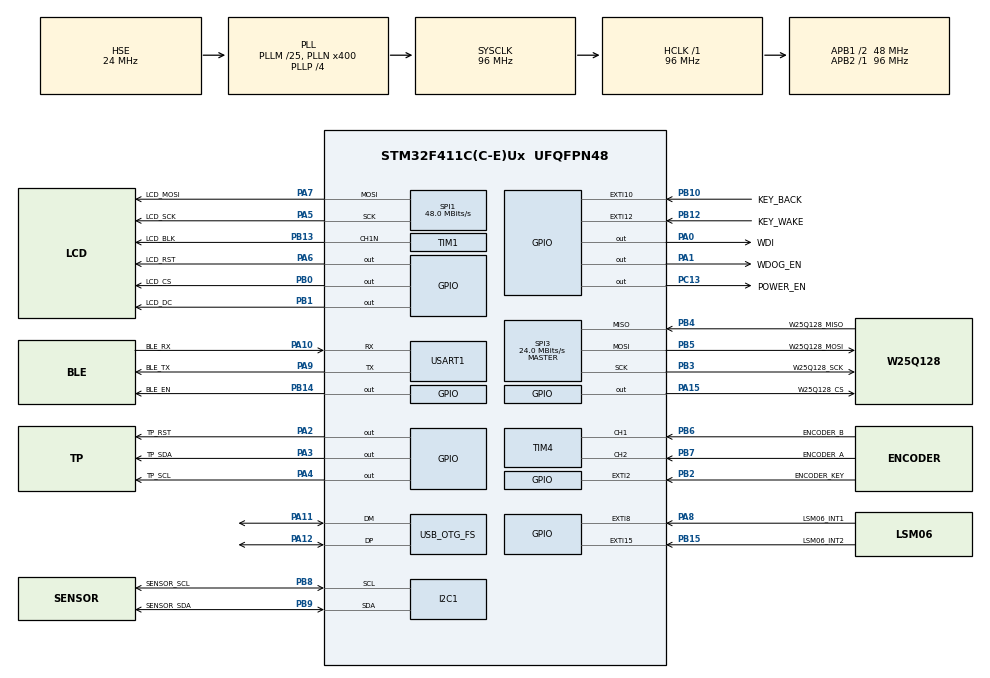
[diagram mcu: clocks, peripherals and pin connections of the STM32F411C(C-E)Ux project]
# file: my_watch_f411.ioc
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Dma.Request0=SPI1_TX
Dma.Request1=USART1_RX
Dma.SPI1_TX.0.Direction=DMA_MEMORY_TO_PERIPH
Dma.SPI1_TX.0.FIFOMode=DMA_FIFOMODE_DISABLE
Dma.SPI1_TX.0.Instance=DMA2_Stream2
Dma.SPI1_TX.0.MemDataAlignment=DMA_MDATAALIGN_BYTE
Dma.SPI1_TX.0.MemInc=DMA_MINC_ENABLE
Dma.SPI1_TX.0.Mode=DMA_NORMAL
Dma.SPI1_TX.0.PeriphDataAlignment=DMA_PDATAALIGN_BYTE
Dma.SPI1_TX.0.PeriphInc=DMA_PINC_DISABLE
Dma.SPI1_TX.0.Priority=DMA_PRIORITY_HIGH
Dma.USART1_RX.1.Direction=DMA_PERIPH_TO_MEMORY
Dma.USART1_RX.1.FIFOMode=DMA_FIFOMODE_DISABLE
Dma.USART1_RX.1.Instance=DMA2_Stream5
Dma.USART1_RX.1.MemDataAlignment=DMA_MDATAALIGN_BYTE
Dma.USART1_RX.1.MemInc=DMA_MINC_ENABLE
Dma.USART1_RX.1.Mode=DMA_NORMAL
Dma.USART1_RX.1.PeriphDataAlignment=DMA_PDATAALIGN_BYTE
Dma.USART1_RX.1.PeriphInc=DMA_PINC_DISABLE
Dma.USART1_RX.1.Priority=DMA_PRIORITY_LOW
FATFS._CODE_PAGE=936
FATFS._USE_FIND=1
FATFS._USE_LABEL=1
FATFS._USE_LFN=3
FREERTOS.Tasks01=defaultTask,24,1024,StartDefaultTask,Default,NULL,Dynamic,NULL,NULL;sensorTask,16,256,StartSensorTask,Default,NULL,Dynamic,NULL,NULL;keyTask,32,128,StartKeyTask,Default,NULL,Dynamic,NULL,NULL;watchdogTask,40,128,StartWatchdogTask,Default,NULL,Dynamic,NULL,NULL
FREERTOS.configCHECK_FOR_STACK_OVERFLOW=2
FREERTOS.configTOTAL_HEAP_SIZE=20480
FREERTOS.configUSE_IDLE_HOOK=1
Mcu.Family=STM32F4
Mcu.Name=STM32F411C(C-E)Ux
Mcu.Package=UFQFPN48
NVIC.DMA2_Stream2_IRQn=true\:6\:0\:true\:false\:true\:true\:false\:true\:true
NVIC.DMA2_Stream5_IRQn=true\:5\:0\:true\:false\:true\:true\:false\:true\:true
NVIC.EXTI15_10_IRQn=true\:5\:0\:true\:false\:true\:true\:true\:true\:true
NVIC.EXTI2_IRQn=true\:5\:0\:false\:false\:true\:true\:true\:true\:true
NVIC.EXTI9_5_IRQn=true\:5\:0\:true\:false\:true\:true\:true\:true\:true
NVIC.OTG_FS_IRQn=true\:5\:0\:false\:false\:true\:true\:false\:true\:true
NVIC.PriorityGroup=NVIC_PRIORITYGROUP_4
NVIC.SPI1_IRQn=true\:6\:0\:true\:false\:true\:true\:true\:true\:true
NVIC.TIM5_IRQn=true\:15\:0\:false\:false\:true\:false\:false\:true\:true
NVIC.TimeBase=TIM5_IRQn
NVIC.TimeBaseIP=TIM5
NVIC.USART1_IRQn=true\:5\:0\:true\:false\:true\:true\:true\:true\:true
PA0-WKUP.GPIO_Label=WDI
PA0-WKUP.Signal=GPIO_Output
PA1.GPIO_Label=WDOG_EN
PA1.GPIO_PuPd=GPIO_PULLUP
PA1.PinState=GPIO_PIN_SET
PA1.Signal=GPIO_Output
PA10.GPIO_Label=BLE_RX
PA10.Mode=Asynchronous
PA10.Signal=USART1_RX
PA11.Mode=Device_Only
PA11.Signal=USB_OTG_FS_DM
PA12.Mode=Device_Only
PA12.Signal=USB_OTG_FS_DP
PA13.Mode=Serial_Wire
PA13.Signal=SYS_JTMS-SWDIO
PA14.Mode=Serial_Wire
PA14.Signal=SYS_JTCK-SWCLK
PA15.GPIO_Label=W25Q128_CS
PA15.PinState=GPIO_PIN_SET
PA15.Signal=GPIO_Output
PA2.GPIO_Label=TP_RST
PA2.Signal=GPIO_Output
PA3.GPIO_Label=TP_SDA
PA3.GPIO_ModeDefaultOutputPP=GPIO_MODE_OUTPUT_OD
PA3.GPIO_PuPd=GPIO_PULLUP
PA3.GPIO_Speed=GPIO_SPEED_FREQ_HIGH
PA3.PinState=GPIO_PIN_SET
PA3.Signal=GPIO_Output
PA4.GPIO_Label=TP_SCL
PA4.GPIO_ModeDefaultOutputPP=GPIO_MODE_OUTPUT_OD
PA4.GPIO_PuPd=GPIO_PULLUP
PA4.GPIO_Speed=GPIO_SPEED_FREQ_HIGH
PA4.PinState=GPIO_PIN_SET
PA4.Signal=GPIO_Output
PA5.GPIO_Label=LCD_SCK
PA5.Mode=TX_Only_Simplex_Unidirect_Master
PA5.Signal=SPI1_SCK
PA6.GPIO_Label=LCD_RST
PA6.GPIO_Speed=GPIO_SPEED_FREQ_HIGH
PA6.PinState=GPIO_PIN_SET
PA6.Signal=GPIO_Output
PA7.GPIO_Label=LCD_MOSI
PA7.Mode=TX_Only_Simplex_Unidirect_Master
PA7.Signal=SPI1_MOSI
PA8.GPIO_Label=LSM06_INT1
PA8.GPIO_ModeDefaultEXTI=GPIO_MODE_IT_RISING
PA8.GPIO_PuPd=GPIO_PULLDOWN
PA8.Signal=GPXTI8
PA9.GPIO_Label=BLE_TX
PA9.Mode=Asynchronous
PA9.Signal=USART1_TX
PB0.GPIO_Label=LCD_CS
PB0.GPIO_Speed=GPIO_SPEED_FREQ_VERY_HIGH
PB0.PinState=GPIO_PIN_SET
PB0.Signal=GPIO_Output
PB1.GPIO_Label=LCD_DC
PB1.GPIO_Speed=GPIO_SPEED_FREQ_VERY_HIGH
PB1.Signal=GPIO_Output
PB10.GPIO_Label=KEY_BACK
PB10.GPIO_ModeDefaultEXTI=GPIO_MODE_IT_FALLING
PB10.Signal=GPXTI10
PB12.GPIO_Label=KEY_WAKE
PB12.Signal=GPXTI12
PB13.GPIO_Label=LCD_BLK
PB13.Mode=PWM Generation1 CH1N
PB13.Signal=TIM1_CH1N
PB14.GPIO_Label=BLE_EN
PB14.GPIO_ModeDefaultOutputPP=GPIO_MODE_OUTPUT_OD
PB14.GPIO_PuPd=GPIO_PULLUP
PB14.PinState=GPIO_PIN_SET
PB14.Signal=GPIO_Output
PB15.GPIO_Label=LSM06_INT2
PB15.GPIO_ModeDefaultEXTI=GPIO_MODE_IT_RISING
PB15.GPIO_PuPd=GPIO_PULLDOWN
PB15.Signal=GPXTI15
PB2.GPIO_Label=ENCODER_KEY
PB2.GPIO_ModeDefaultEXTI=GPIO_MODE_IT_FALLING
PB2.GPIO_PuPd=GPIO_PULLUP
PB2.Signal=GPXTI2
PB3.GPIO_Label=W25Q128_SCK
PB3.Mode=Full_Duplex_Master
PB3.Signal=SPI3_SCK
PB4.GPIO_Label=W25Q128_MISO
PB4.Mode=Full_Duplex_Master
PB4.Signal=SPI3_MISO
PB5.GPIO_Label=W25Q128_MOSI
PB5.Mode=Full_Duplex_Master
PB5.Signal=SPI3_MOSI
PB6.GPIO_Label=ENCODER_B
PB6.GPIO_PuPd=GPIO_PULLUP
PB6.Signal=S_TIM4_CH1
PB7.GPIO_Label=ENCODER_A
PB7.GPIO_PuPd=GPIO_PULLUP
PB7.Signal=S_TIM4_CH2
PB8.GPIO_Label=SENSOR_SCL
PB8.Mode=I2C
PB8.Signal=I2C1_SCL
PB9.GPIO_Label=SENSOR_SDA
PB9.Mode=I2C
PB9.Signal=I2C1_SDA
PC13-ANTI_TAMP.GPIO_Label=POWER_EN
PC13-ANTI_TAMP.Signal=GPIO_Output
PC14-OSC32_IN.Mode=LSE-External-Oscillator
PC14-OSC32_IN.Signal=RCC_OSC32_IN
PC15-OSC32_OUT.Mode=LSE-External-Oscillator
PC15-OSC32_OUT.Signal=RCC_OSC32_OUT
PH0\ -\ OSC_IN.Mode=HSE-External-Oscillator
PH0\ -\ OSC_IN.Signal=RCC_OSC_IN
PH1\ -\ OSC_OUT.Mode=HSE-External-Oscillator
PH1\ -\ OSC_OUT.Signal=RCC_OSC_OUT
ProjectManager.HeapSize=0x200
ProjectManager.StackSize=0x400
ProjectManager.TargetToolchain=MDK-ARM V5.32
RCC.48MHZClocksFreq_Value=48000000
RCC.AHBFreq_Value=96000000
RCC.APB1CLKDivider=RCC_HCLK_DIV2
RCC.APB1Freq_Value=48000000
RCC.APB1TimFreq_Value=96000000
RCC.APB2Freq_Value=96000000
RCC.APB2TimFreq_Value=96000000
RCC.CortexFreq_Value=96000000
RCC.HCLKFreq_Value=96000000
RCC.HSE_VALUE=24000000
RCC.HSI_VALUE=16000000
RCC.LockedElements=USBOTGOutput,AHBOutput
RCC.PLLM=25
RCC.PLLN=400
RCC.PLLP=RCC_PLLP_DIV4
RCC.PLLQ=8
RCC.RCC_RTC_Clock_Source=RCC_RTCCLKSOURCE_LSE
RCC.RCC_RTC_Clock_SourceVirtual=RCC_RTCCLKSOURCE_LSE
RCC.SYSCLKFreq_VALUE=96000000
RCC.SYSCLKSource=RCC_SYSCLKSOURCE_PLLCLK
RCC.VCOOutputFreq_Value=384000000
SH.S_TIM4_CH1.0=TIM4_CH1,Encoder_Interface
SH.S_TIM4_CH2.0=TIM4_CH2,Encoder_Interface
SPI1.BaudRatePrescaler=SPI_BAUDRATEPRESCALER_2
SPI1.CLKPhase=SPI_PHASE_2EDGE
SPI1.CLKPolarity=SPI_POLARITY_HIGH
SPI1.CalculateBaudRate=48.0 MBits/s
SPI1.Direction=SPI_DIRECTION_2LINES
SPI1.Mode=SPI_MODE_MASTER
SPI1.VirtualType=VM_MASTER
SPI3.CalculateBaudRate=24.0 MBits/s
SPI3.Direction=SPI_DIRECTION_2LINES
SPI3.Mode=SPI_MODE_MASTER
SPI3.VirtualType=VM_MASTER
TIM1.Channel-PWM\ Generation1\ CH1N=TIM_CHANNEL_1
TIM1.Period=999
TIM1.Prescaler=95
TIM4.IC1Filter=15
TIM4.IC2Filter=12
USART1.VirtualMode=VM_ASYNC
USB_DEVICE.CLASS_NAME_FS=MSC
USB_DEVICE.VirtualMode=Msc
USB_DEVICE.VirtualModeFS=Msc_FS
USB_OTG_FS.VirtualMode=Device_Only
VP_FATFS_VS_Generic.Mode=User_defined
VP_FREERTOS_VS_CMSIS_V2.Mode=CMSIS_V2
VP_RTC_VS_RTC_Activate.Mode=RTC_Enabled
VP_RTC_VS_RTC_Calendar.Mode=RTC_Calendar
VP_SYS_VS_tim5.Mode=TIM5
VP_USB_DEVICE_VS_USB_DEVICE_MSC_FS.Mode=MSC_FS
board=custom

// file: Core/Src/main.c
/* USER CODE BEGIN Header */
/**
  ******************************************************************************
  * @file           : main.c
  * @brief          : Main program body
  ******************************************************************************
  * @attention
  *
  * Copyright (c) 2025 STMicroelectronics.
  * All rights reserved.
  *
  * This software is licensed under terms that can be found in the LICENSE file
  * in the root directory of this software component.
  * If no LICENSE file comes with this software, it is provided AS-IS.
  *
  ******************************************************************************
  */
/* USER CODE END Header */
#include "main.h"
#include "cmsis_os.h"
#include "dma.h"
#include "fatfs.h"
#include "i2c.h"
#include "rtc.h"
#include "spi.h"
#include "tim.h"
#include "usart.h"
#include "usb_device.h"
#include "gpio.h"

/* USER CODE BEGIN Includes */
#include "config/user_config.h"
/* USER CODE END Includes */

void SystemClock_Config(void);
void MX_FREERTOS_Init(void);

int main(void)
{

  /* MCU Configuration--------------------------------------------------------*/

  /* Reset of all peripherals, Initializes the Flash interface and the Systick. */
  HAL_Init();

  /* USER CODE BEGIN Init */
  /* CRITICAL: Enable POWER_EN immediately after reset to keep MCU powered!
   * When user presses button, external circuit pulls POWER_EN high temporarily.
   * MCU must take over and keep POWER_EN high before the button is released.
   * This must be done BEFORE MX_GPIO_Init() because CubeMX sets it LOW by default.
   */
  __HAL_RCC_GPIOC_CLK_ENABLE();
  GPIO_InitTypeDef GPIO_InitStruct = {0};
  GPIO_InitStruct.Pin = GPIO_PIN_13;  /* POWER_EN = PC13 */
  GPIO_InitStruct.Mode = GPIO_MODE_OUTPUT_PP;
  GPIO_InitStruct.Pull = GPIO_NOPULL;
  GPIO_InitStruct.Speed = GPIO_SPEED_FREQ_LOW;
  HAL_GPIO_WritePin(GPIOC, GPIO_PIN_13, GPIO_PIN_SET);  /* Set HIGH first! */
  HAL_GPIO_Init(GPIOC, &GPIO_InitStruct);
  /* USER CODE END Init */

  /* Configure the system clock */
  SystemClock_Config();

  /* Initialize all configured peripherals */
  MX_GPIO_Init();
  MX_DMA_Init();
  MX_SPI1_Init();
  MX_USART1_UART_Init();
  MX_TIM1_Init();
  MX_SPI3_Init();
  MX_TIM4_Init();
  MX_I2C1_Init();
  MX_FATFS_Init();
  MX_RTC_Init();
  /* USER CODE BEGIN 2 */

  HAL_GPIO_WritePin(POWER_EN_GPIO_Port, POWER_EN_Pin, GPIO_PIN_SET);
//  hspi1.Init.BaudRatePrescaler = SPI_BAUDRATEPRESCALER_16;
//  if (HAL_SPI_Init(&hspi1) != HAL_OK)
//  {
//    Error_Handler();
//  }
  /* User bring-up is initialized from FreeRTOS tasks. */

  /* USER CODE END 2 */

  /* Init scheduler */
  osKernelInitialize();

  /* Call init function for freertos objects (in cmsis_os2.c) */
  MX_FREERTOS_Init();

  /* Start scheduler */
  osKernelStart();

  /* We should never get here as control is now taken by the scheduler */

  /* Infinite loop */
  /* USER CODE BEGIN WHILE */
  while (1)
  {
    /* This loop is never reached since osKernelStart() does not return. */

    /* USER CODE END WHILE */

  }
}

void SystemClock_Config(void)
{
  RCC_OscInitTypeDef RCC_OscInitStruct = {0};
  RCC_ClkInitTypeDef RCC_ClkInitStruct = {0};

  /** Configure the main internal regulator output voltage
  */
  __HAL_RCC_PWR_CLK_ENABLE();
  __HAL_PWR_VOLTAGESCALING_CONFIG(PWR_REGULATOR_VOLTAGE_SCALE1);

  /** Initializes the RCC Oscillators according to the specified parameters
  * in the RCC_OscInitTypeDef structure.
  */
  RCC_OscInitStruct.OscillatorType = RCC_OSCILLATORTYPE_HSE|RCC_OSCILLATORTYPE_LSE;
  RCC_OscInitStruct.HSEState = RCC_HSE_ON;
  RCC_OscInitStruct.LSEState = RCC_LSE_ON;
  RCC_OscInitStruct.PLL.PLLState = RCC_PLL_ON;
  RCC_OscInitStruct.PLL.PLLSource = RCC_PLLSOURCE_HSE;
  RCC_OscInitStruct.PLL.PLLM = 25;
  RCC_OscInitStruct.PLL.PLLN = 400;
  RCC_OscInitStruct.PLL.PLLP = RCC_PLLP_DIV4;
  RCC_OscInitStruct.PLL.PLLQ = 8;
  if (HAL_RCC_OscConfig(&RCC_OscInitStruct) != HAL_OK)
  {
    Error_Handler();
  }

  /** Initializes the CPU, AHB and APB buses clocks
  */
  RCC_ClkInitStruct.ClockType = RCC_CLOCKTYPE_HCLK|RCC_CLOCKTYPE_SYSCLK
                              |RCC_CLOCKTYPE_PCLK1|RCC_CLOCKTYPE_PCLK2;
  RCC_ClkInitStruct.SYSCLKSource = RCC_SYSCLKSOURCE_PLLCLK;
  RCC_ClkInitStruct.AHBCLKDivider = RCC_SYSCLK_DIV1;
  RCC_ClkInitStruct.APB1CLKDivider = RCC_HCLK_DIV2;
  RCC_ClkInitStruct.APB2CLKDivider = RCC_HCLK_DIV1;

  if (HAL_RCC_ClockConfig(&RCC_ClkInitStruct, FLASH_LATENCY_3) != HAL_OK)
  {
    Error_Handler();
  }
}

void HAL_TIM_PeriodElapsedCallback(TIM_HandleTypeDef *htim)
{
  if (htim->Instance == TIM5)
  {
    HAL_IncTick();
  }
}

void Error_Handler(void)
{
  __disable_irq();
  while (1)
  {
  }
}

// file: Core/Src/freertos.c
/* USER CODE BEGIN Header */
/**
  ******************************************************************************
  * File Name          : freertos.c
  * Description        : Code for freertos applications
  ******************************************************************************
  * @attention
  *
  * Copyright (c) 2026 STMicroelectronics.
  * All rights reserved.
  *
  * This software is licensed under terms that can be found in the LICENSE file
  * in the root directory of this software component.
  * If no LICENSE file comes with this software, it is provided AS-IS.
  *
  ******************************************************************************
  */
/* USER CODE END Header */

#include "FreeRTOS.h"
#include "task.h"
#include "main.h"
#include "cmsis_os.h"

/* USER CODE BEGIN Includes */
#include "app/watch_bringup.h"
#include "config/user_config.h"
/* USER CODE END Includes */

/* USER CODE BEGIN Variables */
static volatile uint8_t g_bsp_initialized = 0;  /* BSP initialization flag */
static volatile uint8_t g_app_initialized = 0;  /* APP initialization flag */
/* USER CODE END Variables */
/* Definitions for defaultTask */
osThreadId_t defaultTaskHandle;
const osThreadAttr_t defaultTask_attributes = {
  .name = "defaultTask",
  .stack_size = 1024 * 4,
  .priority = (osPriority_t) osPriorityNormal,
};
/* Definitions for sensorTask */
osThreadId_t sensorTaskHandle;
const osThreadAttr_t sensorTask_attributes = {
  .name = "sensorTask",
  .stack_size = 256 * 4,
  .priority = (osPriority_t) osPriorityBelowNormal,
};
/* Definitions for keyTask */
osThreadId_t keyTaskHandle;
const osThreadAttr_t keyTask_attributes = {
  .name = "keyTask",
  .stack_size = 128 * 4,
  .priority = (osPriority_t) osPriorityAboveNormal,
};
/* Definitions for watchdogTask */
osThreadId_t watchdogTaskHandle;
const osThreadAttr_t watchdogTask_attributes = {
  .name = "watchdogTask",
  .stack_size = 128 * 4,
  .priority = (osPriority_t) osPriorityHigh,
};

void StartDefaultTask(void *argument);
void StartSensorTask(void *argument);
void StartKeyTask(void *argument);
void StartWatchdogTask(void *argument);

extern void MX_USB_DEVICE_Init(void);
void MX_FREERTOS_Init(void); /* (MISRA C 2004 rule 8.1) */

/* Hook prototypes */
void vApplicationIdleHook(void);
void vApplicationStackOverflowHook(xTaskHandle xTask, signed char *pcTaskName);

/* USER CODE BEGIN 2 */
void vApplicationIdleHook( void )
{
   /* vApplicationIdleHook() will only be called if configUSE_IDLE_HOOK is set
   to 1 in FreeRTOSConfig.h. It will be called on each iteration of the idle
   task. It is essential that code added to this hook function never attempts
   to block in any way (for example, call xQueueReceive() with a block time
   specified, or call vTaskDelay()). If the application makes use of the
   vTaskDelete() API function (as this demo application does) then it is also
   important that vApplicationIdleHook() is permitted to return to its calling
   function, because it is the responsibility of the idle task to clean up
   memory allocated by the kernel to any task that has since been deleted. */
}
/* USER CODE END 2 */

/* USER CODE BEGIN 4 */
void vApplicationStackOverflowHook(xTaskHandle xTask, signed char *pcTaskName)
{
   /* Run time stack overflow checking is performed if
   configCHECK_FOR_STACK_OVERFLOW is defined to 1 or 2. This hook function is
   called if a stack overflow is detected. */
}
/* USER CODE END 4 */

void MX_FREERTOS_Init(void) {

  /* USER CODE BEGIN RTOS_MUTEX */
  /* Mutexes will be introduced when a shared bus has more than one active owner. */
  /* USER CODE END RTOS_MUTEX */

  /* Create the thread(s) */
  /* creation of defaultTask */
  defaultTaskHandle = osThreadNew(StartDefaultTask, NULL, &defaultTask_attributes);

  /* creation of sensorTask */
  sensorTaskHandle = osThreadNew(StartSensorTask, NULL, &sensorTask_attributes);

  /* creation of keyTask */
  keyTaskHandle = osThreadNew(StartKeyTask, NULL, &keyTask_attributes);

  /* creation of watchdogTask */
  watchdogTaskHandle = osThreadNew(StartWatchdogTask, NULL, &watchdogTask_attributes);

}

/* USER CODE BEGIN Header_StartDefaultTask */
/**
  * @brief  Function implementing the defaultTask thread.
  *         First bring-up task: LCD color pattern + input event visualization.
  * @param  argument: Not used
  * @retval None
  */
/* USER CODE END Header_StartDefaultTask */
void StartDefaultTask(void *argument)
{
  /* init code for USB_DEVICE */
  MX_USB_DEVICE_Init();
  /* USER CODE BEGIN StartDefaultTask */

  watch_bringup_init();
  g_bsp_initialized = 1;
  g_app_initialized = 1;

  /* Infinite loop */
  for(;;)
  {
    watch_bringup_task();
    osDelay(5);
  }
  /* USER CODE END StartDefaultTask */
}

/* USER CODE BEGIN Header_StartSensorTask */
/**
* @brief Function implementing the sensorTask thread.
*        Reserved for future sensor services.
* @param argument: Not used
* @retval None
*/
/* USER CODE END Header_StartSensorTask */
void StartSensorTask(void *argument)
{
  /* USER CODE BEGIN StartSensorTask */

  /* Wait for BSP initialization to complete */
  while (!g_bsp_initialized)
  {
    osDelay(10);
  }

  /* Infinite loop */
  for(;;)
  {
    osDelay(SENSOR_TASK_BASE_INTERVAL);
  }
  /* USER CODE END StartSensorTask */
}

/* USER CODE BEGIN Header_StartKeyTask */
/**
* @brief Function implementing the keyTask thread.
*        Scans keys and encoder, then publishes semantic input events.
* @param argument: Not used
* @retval None
*/
/* USER CODE END Header_StartKeyTask */
void StartKeyTask(void *argument)
{
  /* USER CODE BEGIN StartKeyTask */

  /* Wait for BSP initialization to complete */
  while (!g_bsp_initialized)
  {
    osDelay(10);
  }

  /* Infinite loop */
  for(;;)
  {
    watch_bringup_scan_input_10ms();
    osDelay(10);
  }
  /* USER CODE END StartKeyTask */
}

/* USER CODE BEGIN Header_StartWatchdogTask */
/**
* @brief Function implementing the watchdogTask thread.
*        Reserved for future watchdog service.
* @param argument: Not used
* @retval None
*/
/* USER CODE END Header_StartWatchdogTask */
void StartWatchdogTask(void *argument)
{
  /* USER CODE BEGIN StartWatchdogTask */

  /* Wait for BSP initialization to complete */
  while (!g_bsp_initialized)
  {
    osDelay(10);
  }

  /* Infinite loop */
  for(;;)
  {
    osDelay(1000);
  }
  /* USER CODE END StartWatchdogTask */
}
